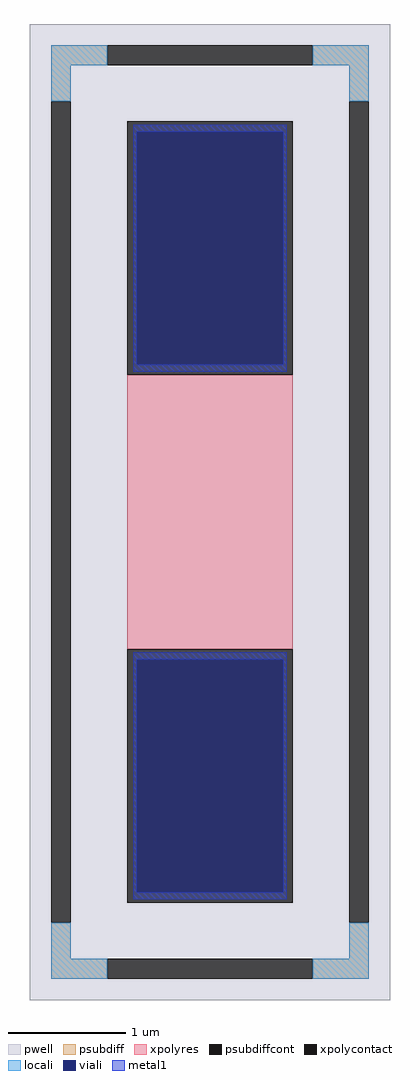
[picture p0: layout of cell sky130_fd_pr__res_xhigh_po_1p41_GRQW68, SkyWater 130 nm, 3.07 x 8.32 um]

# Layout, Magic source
magic
tech sky130A
magscale 1 2
<< pwell >>
rect -307 -832 307 832
<< psubdiff >>
rect -271 762 -175 796
rect 175 762 271 796
rect -271 700 -237 762
rect 237 700 271 762
rect -271 -762 -237 -700
rect 237 -762 271 -700
rect -271 -796 -175 -762
rect 175 -796 271 -762
<< psubdiffcont >>
rect -175 762 175 796
rect -271 -700 -237 700
rect 237 -700 271 700
rect -175 -796 175 -762
<< xpolycontact >>
rect -141 234 141 666
rect -141 -666 141 -234
<< xpolyres >>
rect -141 -234 141 234
<< locali >>
rect -271 762 -175 796
rect 175 762 271 796
rect -271 700 -237 762
rect 237 700 271 762
rect -271 -762 -237 -700
rect 237 -762 271 -700
rect -271 -796 -175 -762
rect 175 -796 271 -762
<< viali >>
rect -125 251 125 648
rect -125 -648 125 -251
<< metal1 >>
rect -131 648 131 660
rect -131 251 -125 648
rect 125 251 131 648
rect -131 239 131 251
rect -131 -251 131 -239
rect -131 -648 -125 -251
rect 125 -648 131 -251
rect -131 -660 131 -648
<< properties >>
string FIXED_BBOX -254 -779 254 779
string gencell sky130_fd_pr__res_xhigh_po_1p41
string library sky130
string parameters w 1.410 l 2.501 m 1 nx 1 wmin 1.410 lmin 0.50 rho 2000 val 3.814k dummy 0 dw 0.0 term 188.2 sterm 0.0 caplen 0 wmax 1.410 guard 1 glc 1 grc 1 gtc 1 gbc 1 compatible {sky130_fd_pr__res_xhigh_po_0p35  sky130_fd_pr__res_xhigh_po_0p69 sky130_fd_pr__res_xhigh_po_1p41  sky130_fd_pr__res_xhigh_po_2p85 sky130_fd_pr__res_xhigh_po_5p73} snake 0 full_metal 1 n_guard 0 hv_guard 0 vias 1 viagb 0 viagt 0 viagl 0 viagr 0
<< end >>
